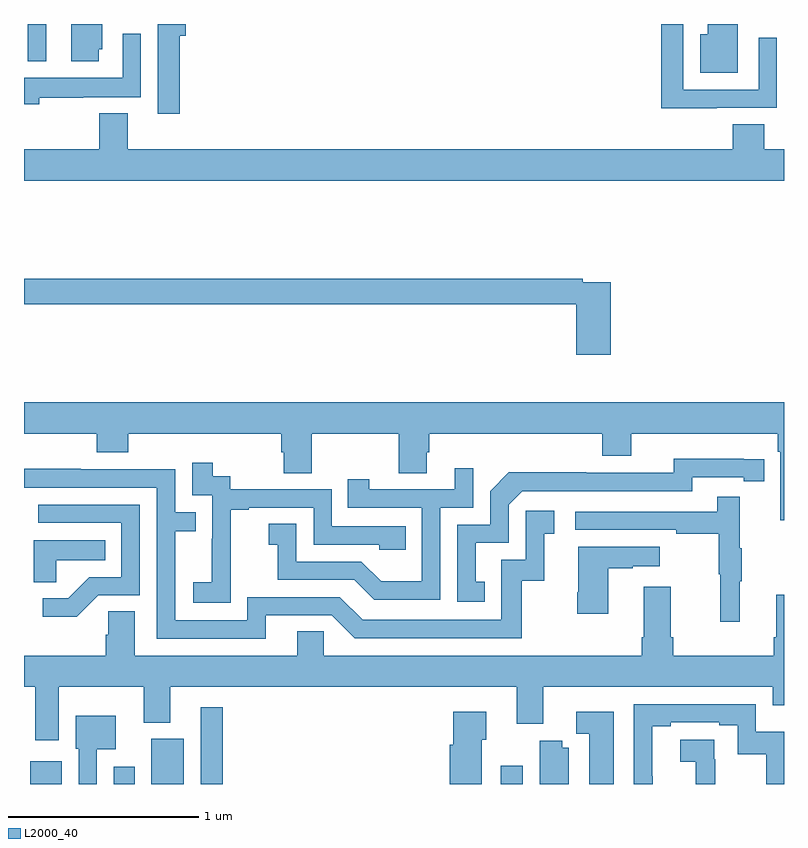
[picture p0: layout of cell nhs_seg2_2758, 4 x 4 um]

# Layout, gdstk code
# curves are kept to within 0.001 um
import gdstk
lib = gdstk.Library(unit=1e-6, precision=1e-09)
def R(c, l, rs):  # rectangles x0, y0, x1, y1
    for r in rs: c.add(gdstk.rectangle(r[:2], r[2:], *l))
def P(c, l, *ps):  # polygons
    for p in ps: c.add(gdstk.Polygon(p, *l))
L2000_40 = (2000, 40)

nhs_seg2_2758 = lib.new_cell('nhs_seg2_2758')
R(nhs_seg2_2758, L2000_40, [(255.032,637.8,255.199,637.921), (255.473,637.8,255.583,637.891), (255.671,637.8,255.841,638.038), (255.93,637.8,256.046,638.203), (257.508,637.8,257.625,637.897), (255.021,641.603,255.118,641.8)])
P(nhs_seg2_2758, L2000_40, [(255.394,641.667),(255.412,641.667),(255.412,641.8),(255.248,641.8),(255.248,641.604),(255.394,641.604)],
  [(255.821,641.738),(255.851,641.738),(255.851,641.8),(255.705,641.8),(255.705,641.328),(255.821,641.328)],
  [(258.757,641.8),(258.599,641.8),(258.599,641.746),(258.56,641.746),(258.56,641.543),(258.757,641.543)],
  [(258.647,641.358),(258.963,641.358),(258.963,641.728),(258.867,641.728),(258.867,641.454),(258.471,641.454),(258.471,641.8),(258.355,641.8),(258.355,641.357),(258.647,641.357)],
  [(255.08,641.412),(255.311,641.412),(255.311,641.414),(255.615,641.414),(255.615,641.749),(255.519,641.749),(255.519,641.518),(255,641.518),(255,641.378),(255.08,641.378)],
  [(259,641.14),(258.896,641.14),(258.896,641.273),(258.731,641.273),(258.731,641.14),(255.547,641.14),(255.547,641.329),(255.395,641.329),(255.395,641.14),(255,641.14),(255,640.976),(259,640.976)],
  [(258.089,640.44),(257.942,640.44),(257.942,640.46),(255,640.46),(255,640.324),(257.906,640.324),(257.906,640.059),(258.089,640.059)],
  [(259,639.808),(255,639.808),(255,639.644),(255.383,639.644),(255.383,639.545),(255.548,639.545),(255.548,639.644),(256.355,639.644),(256.355,639.546),(256.367,639.546),(256.367,639.436),(256.515,639.436),(256.515,639.644),(256.972,639.644),(256.972,639.436),(257.119,639.436),(257.119,639.546),(257.132,639.546),(257.132,639.644),(258.044,639.644),(258.044,639.527),(258.196,639.527),(258.196,639.644),(258.968,639.644),(258.968,639.548),(258.981,639.548),(258.981,639.189),(259,639.189)],
  [(257.426,638.865),(257.377,638.865),(257.377,639.069),(257.55,639.069),(257.55,639.27),(257.622,639.342),(258.516,639.342),(258.516,639.414),(258.788,639.414),(258.788,639.394),(258.896,639.394),(258.896,639.51),(258.42,639.511),(258.42,639.438),(257.96,639.438),(257.96,639.44),(257.552,639.44),(257.454,639.342),(257.454,639.165),(257.28,639.165),(257.28,638.76),(257.426,638.76)],
  [(256.089,638.959),(256.088,638.959),(256.088,639.243),(256.183,639.243),(256.183,639.255),(256.524,639.255),(256.524,639.06),(256.869,639.06),(256.869,639.033),(257.009,639.033),(257.009,639.156),(256.62,639.156),(256.62,639.351),(256.086,639.351),(256.086,639.42),(255.994,639.42),(255.994,639.49),(255.885,639.49),(255.885,639.321),(255.99,639.321),(255.99,639.092),(255.989,639.092),(255.989,638.863),(255.891,638.863),(255.891,638.753),(256.089,638.753)],
  [(257.19,639.255),(257.364,639.255),(257.364,639.463),(257.267,639.463),(257.267,639.351),(256.816,639.351),(256.816,639.403),(256.705,639.403),(256.705,639.255),(257.094,639.255),(257.094,638.866),(256.88,638.866),(256.776,638.97),(256.434,638.97),(256.434,639.169),(256.287,639.169),(256.287,639.059),(256.336,639.059),(256.336,638.874),(256.739,638.874),(256.844,638.769),(257.19,638.769)],
  [(256.273,638.688),(256.62,638.688),(256.74,638.568),(257.62,638.568),(257.62,638.871),(257.738,638.871),(257.738,639.117),(257.791,639.117),(257.791,639.238),(257.64,639.238),(257.64,638.979),(257.511,638.979),(257.511,638.664),(256.782,638.664),(256.662,638.784),(256.176,638.784),(256.176,638.661),(255.795,638.661),(255.795,639.13),(255.905,639.13),(255.905,639.231),(255.795,639.231),(255.795,639.456),(255.299,639.456),(255.299,639.458),(255,639.458),(255,639.36),(255.699,639.36),(255.699,638.565),(256.273,638.565)],
  [(258.767,638.867),(258.778,638.867),(258.778,639.041),(258.767,639.041),(258.767,639.313),(258.649,639.313),(258.649,639.234),(257.901,639.234),(257.901,639.138),(258.433,639.138),(258.433,639.118),(258.657,639.118),(258.657,638.904),(258.664,638.904),(258.664,638.655),(258.767,638.655)],
  [(255.39,638.793),(255.609,638.793),(255.609,639.27),(255.075,639.27),(255.075,639.174),(255.513,639.174),(255.513,638.889),(255.344,638.889),(255.233,638.778),(255.099,638.778),(255.099,638.681),(255.277,638.681)],
  [(255.171,638.978),(255.428,638.978),(255.428,639.082),(255.05,639.082),(255.05,638.863),(255.171,638.863)],
  [(258.076,638.935),(258.203,638.935),(258.203,638.945),(258.346,638.945),(258.346,639.049),(257.918,639.049),(257.918,638.809),(257.911,638.809),(257.911,638.697),(258.076,638.697)],
  [(255.184,638.312),(255.629,638.312),(255.629,638.123),(255.769,638.123),(255.769,638.312),(257.594,638.312),(257.594,638.118),(257.734,638.118),(257.734,638.312),(258.941,638.312),(258.941,638.214),(259,638.214),(259,638.797),(258.959,638.797),(258.959,638.572),(258.947,638.572),(258.947,638.476),(258.416,638.476),(258.416,638.572),(258.403,638.572),(258.403,638.839),(258.263,638.839),(258.263,638.572),(258.251,638.572),(258.251,638.476),(256.578,638.476),(256.578,638.603),(256.439,638.603),(256.439,638.476),(255.583,638.476),(255.583,638.708),(255.444,638.708),(255.444,638.585),(255.431,638.585),(255.431,638.476),(255,638.476),(255,638.312),(255.059,638.312),(255.059,638.031),(255.184,638.031)],
  [(258.309,637.841),(258.307,637.841),(258.307,638.104),(258.403,638.104),(258.403,638.124),(258.659,638.124),(258.659,638.11),(258.756,638.11),(258.756,637.957),(258.907,637.957),(258.907,637.8),(259,637.8),(259,638.074),(258.852,638.074),(258.852,638.22),(258.21,638.22),(258.21,637.8),(258.309,637.8)],
  [(258.103,638.179),(257.907,638.179),(257.907,638.064),(257.975,638.064),(257.975,637.8),(258.103,637.8)],
  [(257.41,638.034),(257.434,638.034),(257.434,638.179),(257.258,638.179),(257.258,638.007),(257.24,638.007),(257.24,637.8),(257.41,637.8)],
  [(255.384,637.982),(255.484,637.982),(255.484,638.158),(255.272,638.158),(255.272,637.986),(255.288,637.986),(255.288,637.8),(255.384,637.8)],
  [(258.638,637.931),(258.632,637.931),(258.632,638.033),(258.453,638.033),(258.453,637.918),(258.535,637.918),(258.535,637.8),(258.638,637.8)],
  [(257.866,637.99),(257.834,637.99),(257.834,638.027),(257.714,638.027),(257.714,637.8),(257.866,637.8)])

lib.write_gds('nhs_seg2_2758.gds')
